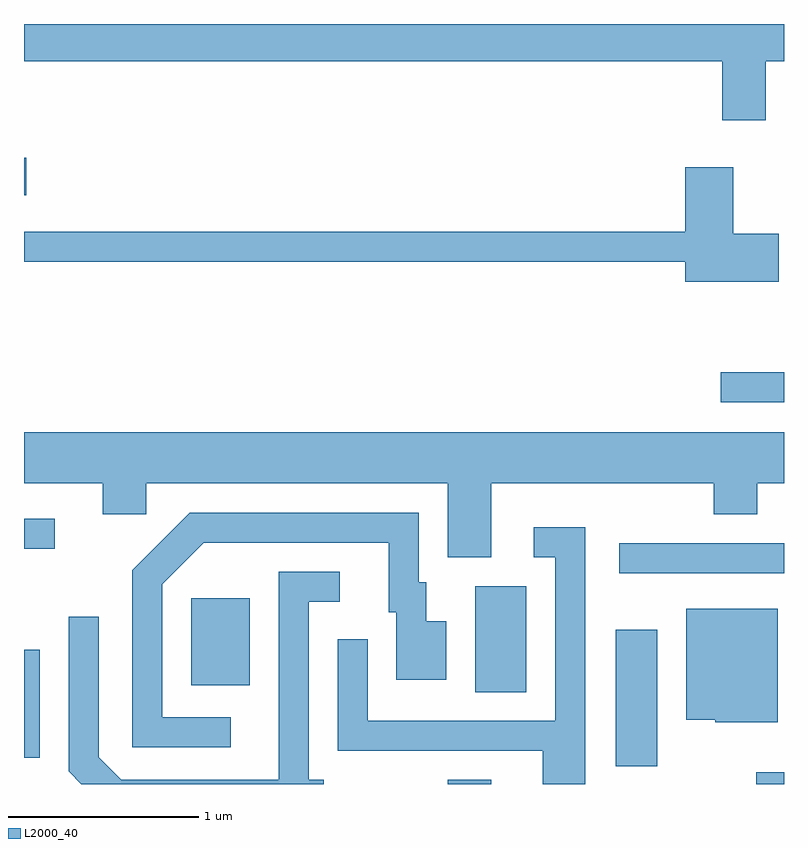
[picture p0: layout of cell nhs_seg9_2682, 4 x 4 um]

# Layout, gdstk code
import gdstk
lib = gdstk.Library(unit=1e-6, precision=1e-09)
def R(c, l, rs):  # rectangles x0, y0, x1, y1
    for r in rs: c.add(gdstk.rectangle(r[:2], r[2:], *l))
def P(c, l, *ps):  # polygons
    for p in ps: c.add(gdstk.Polygon(p, *l))
L2000_40 = (2000, 40)

nhs_seg9_2682 = lib.new_cell('nhs_seg9_2682')
R(nhs_seg9_2682, L2000_40, [(265.841,2012.432,266.069,2012.454), (267.466,2012.432,267.611,2012.494), (266.726,2012.526,266.944,2013.244), (263.611,2012.571,263.694,2013.139), (265.986,2012.916,266.254,2013.474), (264.491,2012.951,264.799,2013.409), (266.743,2013.541,267.611,2013.699), (263.611,2013.671,263.773,2013.829), (267.278,2014.441,267.611,2014.599), (263.611,2015.531,263.624,2015.729)])
P(nhs_seg9_2682, L2000_40, [(267.514,2016.236),(267.611,2016.236),(267.611,2016.432),(263.611,2016.432),(263.611,2016.236),(267.286,2016.236),(267.286,2015.926),(267.514,2015.926)],
  [(267.584,2015.329),(267.344,2015.329),(267.344,2015.679),(267.091,2015.679),(267.091,2015.339),(263.611,2015.339),(263.611,2015.181),(267.091,2015.181),(267.091,2015.076),(267.584,2015.076)],
  [(266.069,2014.016),(267.241,2014.016),(267.241,2013.851),(267.469,2013.851),(267.469,2014.016),(267.611,2014.016),(267.611,2014.284),(263.611,2014.284),(263.611,2014.016),(264.026,2014.016),(264.026,2013.851),(264.254,2013.851),(264.254,2014.016),(265.841,2014.016),(265.841,2013.626),(266.069,2013.626)],
  [(264.698,2012.784),(264.339,2012.784),(264.339,2013.484),(264.557,2013.701),(265.531,2013.701),(265.531,2013.336),(265.571,2013.336),(265.571,2012.981),(265.834,2012.981),(265.834,2013.289),(265.729,2013.289),(265.729,2013.494),(265.689,2013.494),(265.689,2013.859),(264.484,2013.859),(264.181,2013.557),(264.181,2012.626),(264.698,2012.626)],
  [(266.564,2013.784),(266.293,2013.784),(266.293,2013.626),(266.406,2013.626),(266.406,2012.764),(265.419,2012.764),(265.419,2013.193),(265.261,2013.193),(265.261,2012.606),(266.341,2012.606),(266.341,2012.432),(266.564,2012.432)],
  [(265.188,2012.454),(265.109,2012.454),(265.109,2013.391),(265.273,2013.391),(265.273,2013.549),(264.951,2013.549),(264.951,2012.454),(264.122,2012.454),(264.004,2012.572),(264.004,2013.313),(263.846,2013.313),(263.846,2012.499),(263.913,2012.432),(265.188,2012.432)],
  [(267.579,2013.354),(267.096,2013.354),(267.096,2012.771),(267.25,2012.771),(267.25,2012.756),(267.579,2012.756)])

lib.write_gds('nhs_seg9_2682.gds')
